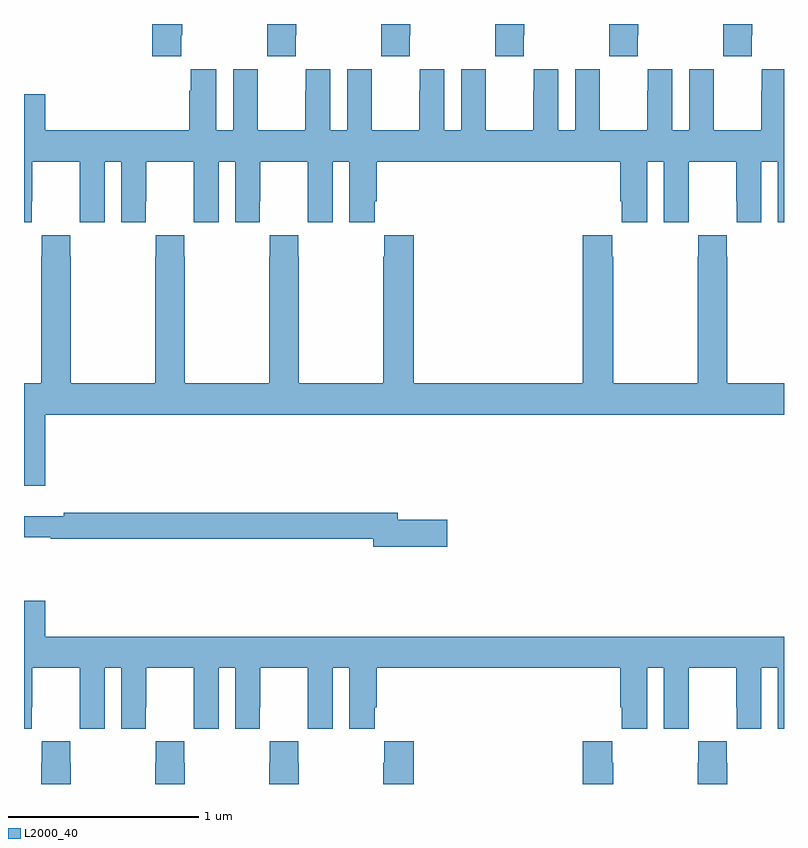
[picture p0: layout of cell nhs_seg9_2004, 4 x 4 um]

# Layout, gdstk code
import gdstk
lib = gdstk.Library(unit=1e-6, precision=1e-09)
def P(c, l, *ps):  # polygons
    for p in ps: c.add(gdstk.Polygon(p, *l))
L2000_40 = (2000, 40)

nhs_seg9_2004 = lib.new_cell('nhs_seg9_2004')
P(nhs_seg9_2004, L2000_40, [(225.827,1174.441),(225.834,1174.441),(225.834,1174.5),(225.674,1174.5),(225.674,1174.329),(225.827,1174.329)],
  [(226.431,1174.441),(226.434,1174.441),(226.434,1174.5),(226.279,1174.5),(226.279,1174.441),(226.281,1174.441),(226.281,1174.329),(226.431,1174.329)],
  [(227.031,1174.441),(227.034,1174.441),(227.034,1174.5),(226.879,1174.5),(226.879,1174.441),(226.881,1174.441),(226.881,1174.329),(227.031,1174.329)],
  [(227.631,1174.441),(227.634,1174.441),(227.634,1174.5),(227.479,1174.5),(227.479,1174.441),(227.481,1174.441),(227.481,1174.329),(227.631,1174.329)],
  [(228.231,1174.441),(228.234,1174.441),(228.234,1174.5),(228.079,1174.5),(228.079,1174.441),(228.081,1174.441),(228.081,1174.329),(228.231,1174.329)],
  [(228.831,1174.441),(228.834,1174.441),(228.834,1174.5),(228.679,1174.5),(228.679,1174.441),(228.681,1174.441),(228.681,1174.329),(228.831,1174.329)],
  [(225.042,1173.568),(225.043,1173.568),(225.043,1173.776),(225.293,1173.776),(225.293,1173.568),(225.294,1173.568),(225.294,1173.456),(225.424,1173.456),(225.424,1173.776),(225.512,1173.776),(225.512,1173.456),(225.642,1173.456),(225.642,1173.568),(225.643,1173.568),(225.643,1173.776),(225.893,1173.776),(225.893,1173.568),(225.894,1173.568),(225.894,1173.456),(226.024,1173.456),(226.024,1173.776),(226.112,1173.776),(226.112,1173.456),(226.242,1173.456),(226.242,1173.568),(226.243,1173.568),(226.243,1173.776),(226.493,1173.776),(226.493,1173.568),(226.494,1173.568),(226.494,1173.456),(226.624,1173.456),(226.624,1173.776),(226.712,1173.776),(226.712,1173.456),(226.846,1173.456),(226.846,1173.568),(226.856,1173.568),(226.856,1173.776),(228.137,1173.776),(228.137,1173.568),(228.146,1173.568),(228.146,1173.456),(228.28,1173.456),(228.28,1173.776),(228.368,1173.776),(228.368,1173.456),(228.498,1173.456),(228.498,1173.568),(228.499,1173.568),(228.499,1173.776),(228.749,1173.776),(228.749,1173.568),(228.75,1173.568),(228.75,1173.456),(228.88,1173.456),(228.88,1173.776),(228.968,1173.776),(228.968,1173.456),(229,1173.456),(229,1174.261),(228.882,1174.261),(228.882,1174.148),(228.881,1174.148),(228.881,1173.94),(228.631,1173.94),(228.631,1174.148),(228.63,1174.148),(228.63,1174.261),(228.5,1174.261),(228.5,1173.94),(228.412,1173.94),(228.412,1174.261),(228.282,1174.261),(228.282,1174.148),(228.281,1174.148),(228.281,1173.94),(228.031,1173.94),(228.031,1174.148),(228.03,1174.148),(228.03,1174.261),(227.9,1174.261),(227.9,1173.94),(227.812,1173.94),(227.812,1174.261),(227.682,1174.261),(227.682,1174.148),(227.681,1174.148),(227.681,1173.94),(227.431,1173.94),(227.431,1174.148),(227.43,1174.148),(227.43,1174.261),(227.3,1174.261),(227.3,1173.94),(227.212,1173.94),(227.212,1174.261),(227.082,1174.261),(227.082,1174.148),(227.081,1174.148),(227.081,1173.94),(226.831,1173.94),(226.831,1174.148),(226.83,1174.148),(226.83,1174.261),(226.7,1174.261),(226.7,1173.94),(226.612,1173.94),(226.612,1174.261),(226.482,1174.261),(226.482,1174.148),(226.481,1174.148),(226.481,1173.94),(226.231,1173.94),(226.231,1174.148),(226.23,1174.148),(226.23,1174.261),(226.1,1174.261),(226.1,1173.94),(226.012,1173.94),(226.012,1174.261),(225.878,1174.261),(225.878,1174.148),(225.869,1174.148),(225.869,1173.94),(225.112,1173.94),(225.112,1174.129),(225,1174.129),(225,1173.456),(225.042,1173.456)],
  [(225.112,1172.444),(229,1172.444),(229,1172.608),(228.702,1172.608),(228.702,1173.275),(228.699,1173.275),(228.699,1173.388),(228.549,1173.388),(228.549,1173.275),(228.547,1173.275),(228.547,1172.608),(228.102,1172.608),(228.102,1173.275),(228.095,1173.275),(228.095,1173.388),(227.942,1173.388),(227.942,1172.608),(227.051,1172.608),(227.051,1173.388),(226.897,1173.388),(226.897,1173.275),(226.891,1173.275),(226.891,1172.608),(226.446,1172.608),(226.446,1173.275),(226.443,1173.275),(226.443,1173.388),(226.293,1173.388),(226.293,1173.275),(226.291,1173.275),(226.291,1172.608),(225.846,1172.608),(225.846,1173.275),(225.843,1173.275),(225.843,1173.388),(225.693,1173.388),(225.693,1173.275),(225.691,1173.275),(225.691,1172.608),(225.246,1172.608),(225.246,1173.275),(225.243,1173.275),(225.243,1173.388),(225.093,1173.388),(225.093,1173.275),(225.091,1173.275),(225.091,1172.608),(225,1172.608),(225,1172.07),(225.112,1172.07)],
  [(227.227,1171.892),(226.966,1171.892),(226.966,1171.928),(225.208,1171.928),(225.208,1171.909),(225,1171.909),(225,1171.8),(225.142,1171.8),(225.142,1171.792),(226.838,1171.792),(226.838,1171.75),(227.227,1171.75)],
  [(225.042,1170.904),(225.043,1170.904),(225.043,1171.112),(225.293,1171.112),(225.293,1170.904),(225.294,1170.904),(225.294,1170.792),(225.424,1170.792),(225.424,1171.112),(225.512,1171.112),(225.512,1170.792),(225.642,1170.792),(225.642,1170.904),(225.643,1170.904),(225.643,1171.112),(225.893,1171.112),(225.893,1170.904),(225.894,1170.904),(225.894,1170.792),(226.024,1170.792),(226.024,1171.112),(226.112,1171.112),(226.112,1170.792),(226.242,1170.792),(226.242,1170.904),(226.243,1170.904),(226.243,1171.112),(226.493,1171.112),(226.493,1170.904),(226.494,1170.904),(226.494,1170.792),(226.624,1170.792),(226.624,1171.112),(226.712,1171.112),(226.712,1170.792),(226.846,1170.792),(226.846,1170.904),(226.856,1170.904),(226.856,1171.112),(228.137,1171.112),(228.137,1170.904),(228.146,1170.904),(228.146,1170.792),(228.28,1170.792),(228.28,1171.112),(228.368,1171.112),(228.368,1170.792),(228.498,1170.792),(228.498,1170.904),(228.499,1170.904),(228.499,1171.112),(228.749,1171.112),(228.749,1170.904),(228.75,1170.904),(228.75,1170.792),(228.88,1170.792),(228.88,1171.112),(228.968,1171.112),(228.968,1170.792),(229,1170.792),(229,1171.276),(225.112,1171.276),(225.112,1171.465),(225,1171.465),(225,1170.792),(225.042,1170.792)],
  [(227.051,1170.724),(226.897,1170.724),(226.897,1170.611),(226.891,1170.611),(226.891,1170.5),(227.051,1170.5)],
  [(226.446,1170.611),(226.443,1170.611),(226.443,1170.724),(226.293,1170.724),(226.293,1170.611),(226.291,1170.611),(226.291,1170.5),(226.446,1170.5)],
  [(225.846,1170.611),(225.843,1170.611),(225.843,1170.724),(225.693,1170.724),(225.693,1170.611),(225.691,1170.611),(225.691,1170.5),(225.846,1170.5)],
  [(225.246,1170.611),(225.243,1170.611),(225.243,1170.724),(225.093,1170.724),(225.093,1170.611),(225.091,1170.611),(225.091,1170.5),(225.246,1170.5)],
  [(228.102,1170.611),(228.095,1170.611),(228.095,1170.724),(227.942,1170.724),(227.942,1170.5),(228.102,1170.5)],
  [(228.702,1170.611),(228.699,1170.611),(228.699,1170.724),(228.549,1170.724),(228.549,1170.611),(228.547,1170.611),(228.547,1170.5),(228.702,1170.5)])

lib.write_gds('nhs_seg9_2004.gds')
